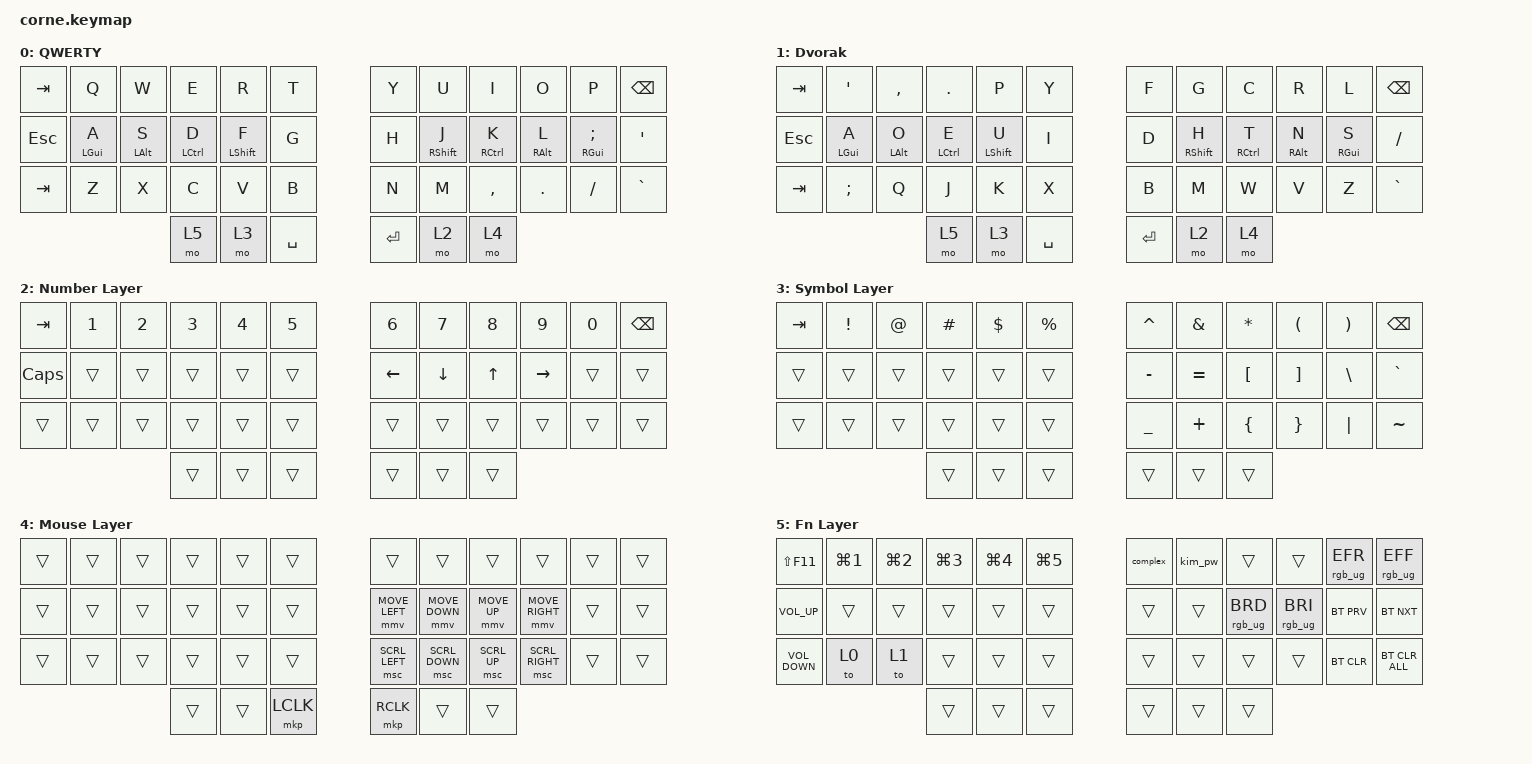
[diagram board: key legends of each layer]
#include <behaviors.dtsi>
#include <dt-bindings/zmk/bt.h>
#include <dt-bindings/zmk/keys.h>
#include <dt-bindings/zmk/pointing.h>
#include <dt-bindings/zmk/rgb.h>

&led_strip { chain-length = <21>; };

/ {
    behaviors {
        // Generic hold-tap: we supply tap+hold at call-site

        hm_lctl: hm_lctl {
            compatible = "zmk,behavior-hold-tap";
            label = "HRM_LCTL";
            #binding-cells = <2>;
            tapping-term-ms = <180>;
            quick-tap-ms = <100>;
            flavor = "tap-preferred";
            bindings = <&kp &kp>;
        };

        hm_lalt: hm_lalt {
            compatible = "zmk,behavior-hold-tap";
            label = "HRM_LALT";
            #binding-cells = <2>;
            tapping-term-ms = <200>;
            quick-tap-ms = <100>;
            flavor = "tap-preferred";
            bindings = <&kp &kp>;
        };

        hm_lgui: hm_lgui {
            compatible = "zmk,behavior-hold-tap";
            label = "HRM_LGUI";
            #binding-cells = <2>;
            tapping-term-ms = <280>;
            quick-tap-ms = <100>;
            require-prior-idle-ms = <150>;
            flavor = "tap-preferred";
            bindings = <&kp &kp>;
        };

        hm_lsft: hm_lsft {
            compatible = "zmk,behavior-hold-tap";
            label = "HRM_LSFT";
            #binding-cells = <2>;
            tapping-term-ms = <200>;
            quick-tap-ms = <100>;
            flavor = "tap-preferred";
            bindings = <&kp &kp>;
        };

        hm_rctl: hm_rctl {
            compatible = "zmk,behavior-hold-tap";
            label = "HRM_RCTL";
            #binding-cells = <2>;
            tapping-term-ms = <200>;
            quick-tap-ms = <100>;
            flavor = "tap-preferred";
            bindings = <&kp &kp>;
        };

        hm_ralt: hm_ralt {
            compatible = "zmk,behavior-hold-tap";
            label = "HRM_RALT";
            #binding-cells = <2>;
            tapping-term-ms = <200>;
            quick-tap-ms = <100>;
            flavor = "tap-preferred";
            bindings = <&kp &kp>;
        };

        hm_rgui: hm_rgui {
            compatible = "zmk,behavior-hold-tap";
            label = "HRM_RGUI";
            #binding-cells = <2>;
            tapping-term-ms = <200>;
            quick-tap-ms = <100>;
            flavor = "tap-preferred";
            bindings = <&kp &kp>;
        };

        hm_rsft: hm_rsft {
            compatible = "zmk,behavior-hold-tap";
            label = "HRM_RSFT";
            #binding-cells = <2>;
            tapping-term-ms = <200>;
            quick-tap-ms = <100>;
            flavor = "tap-preferred";
            bindings = <&kp &kp>;
        };
    };

    macros {
        complex: complex {
            compatible = "zmk,behavior-macro";
            #binding-cells = <0>;
            bindings = <&kp LS(P) &kp AT &kp S &kp S &kp W &kp N0 &kp R &kp D>;
            label = "COMPLEX";
        };

        kim_pw: kim_pw {
            compatible = "zmk,behavior-macro";
            #binding-cells = <0>;
            bindings = <&kp LS(K) &kp I &kp M &kp POUND &kp LS(W) &kp I &kp L &kp L &kp I &kp A &kp M &kp S &kp EXCL &kp N8>;
            label = "KIM_PW";
        };
    };

    keymap {
        compatible = "zmk,keymap";

        default_layer {
            display-name = "QWERTY";

            // -----------------------------------------------------------------------------------------
            // |  TAB |  Q  |  W  |  E  |  R  |  T  |   |  Y  |  U   |  I  |  O  |  P  | BSPC |
            // | ESC |  A  |  S  |  D  |  F  |  G  |   |  H  |  J   |  K  |  L  |  ;  |  '   |
            // | SHFT |  Z  |  X  |  C  |  V  |  B  |   |  N  |  M   |  ,  |  .  |  /  | ESC  |
            //                | GUI | LWR | SPC |   | ENT | RSE  | ALT |

            bindings = <
&kp TAB  &kp Q            &kp W            &kp E             &kp R             &kp T        &kp Y    &kp U             &kp I             &kp O            &kp P               &kp BSPC
&kp ESC  &hm_lgui LGUI A  &hm_lalt LALT S  &hm_lctl LCTRL D  &hm_lsft LSHFT F  &kp G        &kp H    &hm_rsft RSHFT J  &hm_rctl RCTRL K  &hm_ralt RALT L  &hm_rgui RGUI SEMI  &kp SQT
&kp TAB  &kp Z            &kp X            &kp C             &kp V             &kp B        &kp N    &kp M             &kp COMMA         &kp DOT          &kp FSLH            &kp GRAVE
                                           &mo 5             &mo 3             &kp SPACE    &kp RET  &mo 2             &mo 4
            >;
        };

        dvorak_layer {
            display-name = "Dvorak";

            // -----------------------------------------------------------------------------------------
            // |  TAB |  '  |  ,  |  .  |  P  |  Y  |   |  F  |  G   |  C  |  R  |  L  | BSPC |
            // | ESC  |  A  |  O  |  E  |  U  |  I  |   |  D  |  H   |  T  |  N  |  S  |  /   |
            // | TAB  |  ;  |  Q  |  J  |  K  |  X  |   |  B  |  M   |  W  |  V  |  Z  | GRAVE|
            //                | GUI | LWR | SPC |   | ENT | RSE  | ALT |

            bindings = <
&kp TAB  &kp SQT          &kp COMMA        &kp DOT           &kp P             &kp Y        &kp F    &kp G             &kp C             &kp R            &kp L               &kp BSPC
&kp ESC  &hm_lgui LGUI A  &hm_lalt LALT O  &hm_lctl LCTRL E  &hm_lsft LSHFT U  &kp I        &kp D    &hm_rsft RSHFT H  &hm_rctl RCTRL T  &hm_ralt RALT N  &hm_rgui RGUI S     &kp FSLH
&kp TAB  &kp SEMI         &kp Q            &kp J             &kp K             &kp X        &kp B    &kp M             &kp W             &kp V            &kp Z               &kp GRAVE
                                           &mo 5             &mo 3             &kp SPACE    &kp RET  &mo 2             &mo 4
            >;
        };

        number_layer {
            display-name = "Number Layer";

            // (unchanged)

            bindings = <
&kp TAB   &kp N1  &kp N2  &kp N3  &kp N4  &kp N5    &kp N6    &kp N7    &kp N8  &kp N9     &kp N0  &kp BSPC
&kp CAPS  &trans  &trans  &trans  &trans  &trans    &kp LEFT  &kp DOWN  &kp UP  &kp RIGHT  &trans  &trans
&trans    &trans  &trans  &trans  &trans  &trans    &trans    &trans    &trans  &trans     &trans  &trans
                          &trans  &trans  &trans    &trans    &trans    &trans
            >;
        };

        symbol_layer {
            display-name = "Symbol Layer";

            // (unchanged)

            bindings = <
&kp TAB  &kp EXCL  &kp AT  &kp HASH  &kp DLLR  &kp PRCNT    &kp CARET  &kp AMPS   &kp ASTRK  &kp LPAR  &kp RPAR  &kp BSPC
&trans   &trans    &trans  &trans    &trans    &trans       &kp MINUS  &kp EQUAL  &kp LBKT   &kp RBKT  &kp BSLH  &kp GRAVE
&trans   &trans    &trans  &trans    &trans    &trans       &kp UNDER  &kp PLUS   &kp LBRC   &kp RBRC  &kp PIPE  &kp TILDE
                           &trans    &trans    &trans       &trans     &trans     &trans
            >;
        };

        mouse_layer {
            display-name = "Mouse Layer";
            bindings = <
&trans  &trans  &trans  &trans  &trans  &trans       &trans          &trans          &trans        &trans           &trans  &trans
&trans  &trans  &trans  &trans  &trans  &trans       &mmv MOVE_LEFT  &mmv MOVE_DOWN  &mmv MOVE_UP  &mmv MOVE_RIGHT  &trans  &trans
&trans  &trans  &trans  &trans  &trans  &trans       &msc SCRL_LEFT  &msc SCRL_DOWN  &msc SCRL_UP  &msc SCRL_RIGHT  &trans  &trans
                        &trans  &trans  &mkp LCLK    &mkp RCLK       &trans          &trans
            >;
        };

        fn_layer {
            bindings = <
&kp LS(F11)        &kp LG(N1)  &kp LG(N2)  &kp LG(N3)  &kp LG(N4)  &kp LG(N5)    &complex  &kim_pw  &trans           &trans           &rgb_ug RGB_EFR  &rgb_ug RGB_EFF
&kp C_VOLUME_UP    &trans      &trans      &trans      &trans      &trans        &trans    &trans   &rgb_ug RGB_BRD  &rgb_ug RGB_BRI  &bt BT_PRV       &bt BT_NXT
&kp C_VOLUME_DOWN  &to 0       &to 1       &trans      &trans      &trans        &trans    &trans   &trans           &trans           &bt BT_CLR       &bt BT_CLR_ALL
                                           &trans      &trans      &trans        &trans    &trans   &trans
            >;

            label = "Fn Layer";
        };
    };
};
